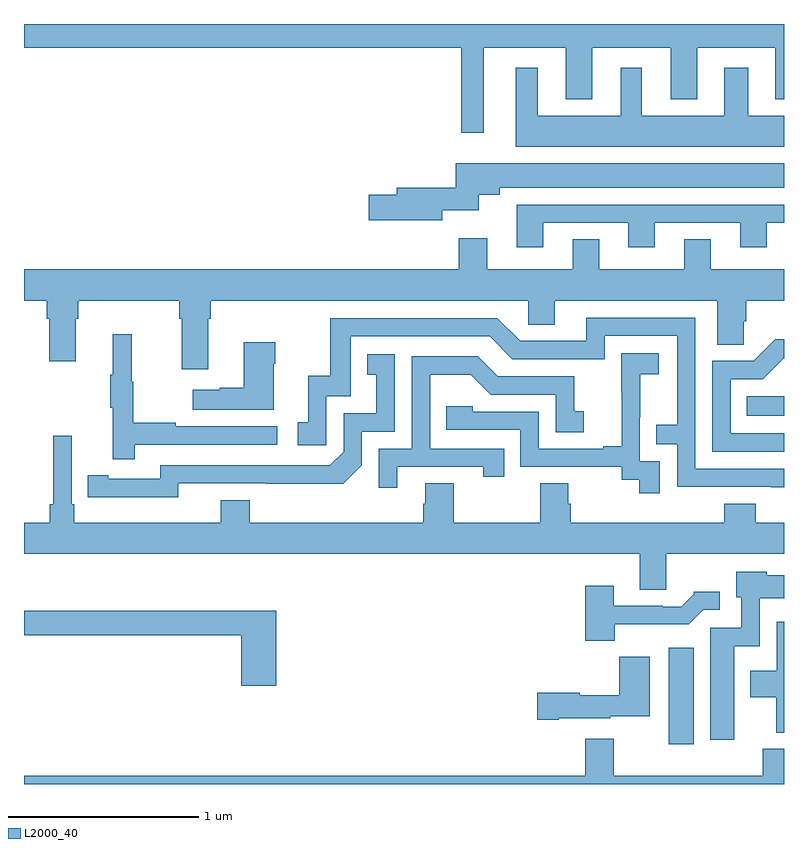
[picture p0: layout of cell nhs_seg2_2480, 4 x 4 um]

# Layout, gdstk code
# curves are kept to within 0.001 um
import gdstk
lib = gdstk.Library(unit=1e-6, precision=1e-09)
def R(c, l, rs):  # rectangles x0, y0, x1, y1
    for r in rs: c.add(gdstk.rectangle(r[:2], r[2:], *l))
def P(c, l, *ps):  # polygons
    for p in ps: c.add(gdstk.Polygon(p, *l))
L2000_40 = (2000, 40)

nhs_seg2_2480 = lib.new_cell('nhs_seg2_2480')
R(nhs_seg2_2480, L2000_40, [(244.394,604.008,244.525,604.516), (244.804,605.738,245,605.842)])
P(nhs_seg2_2480, L2000_40, [(243.421,607.676),(243.851,607.676),(243.851,607.403),(243.991,607.403),(243.991,607.676),(244.403,607.676),(244.403,607.403),(244.543,607.403),(244.543,607.676),(244.955,607.676),(244.955,607.403),(245,607.403),(245,607.8),(241,607.8),(241,607.676),(243.3,607.676),(243.3,607.227),(243.421,607.227)],
  [(245,607.318),(244.813,607.318),(244.813,607.57),(244.685,607.57),(244.685,607.318),(244.252,607.318),(244.252,607.57),(244.142,607.57),(244.142,607.318),(243.703,607.318),(243.703,607.57),(243.587,607.57),(243.587,607.154),(245,607.154)],
  [(243.202,606.821),(243.394,606.821),(243.394,606.902),(243.505,606.902),(243.505,606.938),(245,606.938),(245,607.066),(243.272,607.066),(243.272,606.938),(242.963,606.938),(242.963,606.902),(242.814,606.902),(242.814,606.767),(243.202,606.767)],
  [(243.733,606.753),(244.181,606.753),(244.181,606.624),(244.321,606.624),(244.321,606.753),(244.769,606.753),(244.769,606.624),(244.909,606.624),(244.909,606.753),(245,606.753),(245,606.849),(243.593,606.849),(243.593,606.624),(243.733,606.624)],
  [(241.969,606.248),(241.982,606.248),(241.982,606.344),(243.654,606.344),(243.654,606.217),(243.793,606.217),(243.793,606.344),(244.649,606.344),(244.649,606.112),(244.788,606.112),(244.788,606.235),(244.802,606.235),(244.802,606.344),(245,606.344),(245,606.508),(244.615,606.508),(244.615,606.668),(244.475,606.668),(244.475,606.508),(244.027,606.508),(244.027,606.668),(243.887,606.668),(243.887,606.508),(243.439,606.508),(243.439,606.673),(243.287,606.673),(243.287,606.508),(241,606.508),(241,606.344),(241.121,606.344),(241.121,606.248),(241.133,606.248),(241.133,606.024),(241.273,606.024),(241.273,606.248),(241.286,606.248),(241.286,606.344),(241.817,606.344),(241.817,606.248),(241.829,606.248),(241.829,605.982),(241.969,605.982)],
  [(245,605.46),(244.533,605.46),(244.533,606.255),(243.959,606.255),(243.959,606.132),(243.612,606.132),(243.492,606.252),(242.613,606.252),(242.613,605.95),(242.495,605.95),(242.495,605.703),(242.442,605.703),(242.442,605.583),(242.592,605.583),(242.592,605.841),(242.721,605.841),(242.721,606.156),(243.45,606.156),(243.57,606.036),(244.056,606.036),(244.056,606.159),(244.437,606.159),(244.437,605.69),(244.327,605.69),(244.327,605.589),(244.437,605.589),(244.437,605.364),(245,605.363)],
  [(241.583,605.586),(242.332,605.586),(242.332,605.682),(241.799,605.682),(241.799,605.702),(241.576,605.702),(241.576,605.916),(241.568,605.916),(241.568,606.166),(241.466,606.166),(241.466,605.953),(241.455,605.953),(241.455,605.779),(241.466,605.779),(241.466,605.508),(241.583,605.508)],
  [(245,605.646),(244.719,605.646),(244.719,605.931),(244.888,605.931),(244.999,606.042),(245,606.042),(245,606.14),(244.955,606.14),(244.842,606.027),(244.623,606.027),(244.623,605.55),(245,605.55)],
  [(242.314,606.011),(242.322,606.011),(242.322,606.124),(242.156,606.124),(242.156,605.885),(242.03,605.885),(242.03,605.875),(241.887,605.875),(241.887,605.771),(242.314,605.771)],
  [(244.347,605.499),(244.242,605.499),(244.242,605.729),(244.244,605.729),(244.244,605.957),(244.342,605.957),(244.342,606.067),(244.144,606.067),(244.144,605.861),(244.145,605.861),(244.145,605.578),(244.049,605.578),(244.049,605.565),(243.708,605.565),(243.708,605.76),(243.363,605.76),(243.363,605.787),(243.223,605.787),(243.223,605.664),(243.612,605.664),(243.612,605.469),(244.146,605.469),(244.146,605.401),(244.239,605.401),(244.239,605.331),(244.347,605.331)],
  [(241.812,605.382),(242.68,605.381),(242.778,605.478),(242.778,605.655),(242.952,605.655),(242.952,606.061),(242.806,606.061),(242.806,605.955),(242.855,605.955),(242.855,605.751),(242.682,605.751),(242.682,605.55),(242.61,605.478),(241.716,605.478),(241.716,605.406),(241.444,605.406),(241.444,605.426),(241.336,605.426),(241.336,605.31),(241.812,605.309)],
  [(242.965,605.469),(243.416,605.469),(243.416,605.418),(243.527,605.418),(243.527,605.565),(243.138,605.565),(243.138,605.954),(243.352,605.954),(243.456,605.85),(243.798,605.85),(243.798,605.652),(243.946,605.652),(243.946,605.761),(243.897,605.761),(243.897,605.946),(243.493,605.946),(243.388,606.051),(243.042,606.051),(243.042,605.565),(242.868,605.565),(242.868,605.358),(242.965,605.358)],
  [(244.381,605.012),(245,605.012),(245,605.176),(244.85,605.176),(244.85,605.275),(244.685,605.275),(244.685,605.176),(243.878,605.176),(243.878,605.274),(243.865,605.274),(243.865,605.384),(243.718,605.384),(243.718,605.176),(243.261,605.176),(243.261,605.384),(243.113,605.384),(243.113,605.274),(243.101,605.274),(243.101,605.176),(242.189,605.176),(242.189,605.293),(242.036,605.293),(242.036,605.176),(241.265,605.176),(241.265,605.272),(241.251,605.272),(241.251,605.632),(241.154,605.632),(241.154,605.272),(241.135,605.272),(241.135,605.176),(241,605.176),(241,605.012),(244.241,605.012),(244.241,604.822),(244.381,604.822)],
  [(244.738,604.526),(244.872,604.526),(244.872,604.778),(245,604.778),(245,604.9),(244.908,604.9),(244.908,604.918),(244.748,604.918),(244.748,604.782),(244.776,604.782),(244.776,604.623),(244.613,604.623),(244.613,604.032),(244.738,604.032)],
  [(244.108,604.64),(244.499,604.64),(244.575,604.716),(244.663,604.716),(244.663,604.813),(244.524,604.813),(244.524,604.798),(244.46,604.734),(244.361,604.734),(244.361,604.737),(244.105,604.737),(244.105,604.843),(243.953,604.843),(243.953,604.553),(244.108,604.553)],
  [(242.327,604.711),(241,604.711),(241,604.582),(242.144,604.582),(242.144,604.317),(242.327,604.317)],
  [(245,604.653),(244.962,604.653),(244.962,604.396),(244.823,604.396),(244.823,604.256),(244.96,604.256),(244.96,604.07),(245,604.07)],
  [(243.814,604.145),(244.086,604.145),(244.086,604.157),(244.294,604.157),(244.294,604.471),(244.132,604.471),(244.132,604.267),(243.924,604.267),(243.924,604.28),(243.702,604.28),(243.702,604.138),(243.814,604.138)],
  [(245,603.985),(244.889,603.985),(244.889,603.844),(244.105,603.844),(244.105,604.039),(243.953,604.039),(243.953,603.844),(241,603.844),(241,603.8),(245,603.8)])

lib.write_gds('nhs_seg2_2480.gds')
